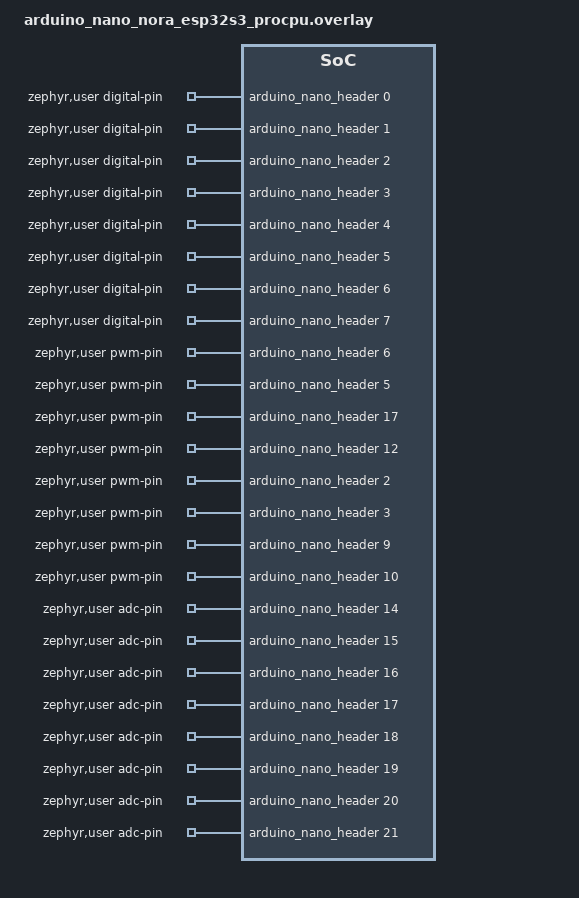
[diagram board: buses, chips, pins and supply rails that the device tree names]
/*
 * Copyright (c) 2024-2025 Espressif Systems (Shanghai) Co., Ltd.
 *
 * SPDX-License-Identifier: Apache-2.0
 */
#include <zephyr/dt-bindings/adc/adc.h>

&flash0 {
	partitions {
		compatible = "fixed-partitions";
		#address-cells = <1>;
		#size-cells = <1>;

		boot_partition: partition@0 {
			label = "mcuboot";
			reg = <0x0 DT_SIZE_K(36)>;
		};

		nvs: partition@9000 {
			label = "nvs";
			reg = <0x9000 DT_SIZE_K(20)>;
		};

		otadata: partition@e000 {
			label = "otadata";
			reg = <0xe000 DT_SIZE_K(8)>;
		};

		app0: partition@10000 {
			label = "app0";
			reg = <0x10000 DT_SIZE_K(3072)>;
		};

		user_sketch: partition@310000 {
			label = "user_sketch";
			reg = <0x310000 DT_SIZE_K(3072)>;
		};

		spiffs: partition@610000 {
			label = "spiffs";
			reg = <0x610000 DT_SIZE_K(10112)>;
		};

		coredump: partition@ff0000 {
			label = "coredump";
			reg = <0xFF0000 DT_SIZE_K(64)>;
		};
	};
};

/* Remaining flash size is 0kB
 * Last used address is 0xFFFFFF
 */

/ {
	zephyr,user {
		digital-pin-gpios = <&arduino_nano_header 0 0>,
				    <&arduino_nano_header 1 0>,
				    <&arduino_nano_header 2 0>,
				    <&arduino_nano_header 3 0>,
				    <&arduino_nano_header 4 0>,
				    <&arduino_nano_header 5 0>,
				    <&arduino_nano_header 6 0>,
				    <&arduino_nano_header 7 0>,
				    <&arduino_nano_header 8 0>,
				    <&arduino_nano_header 9 0>,
				    <&arduino_nano_header 10 0>,
				    <&arduino_nano_header 11 0>,
				    <&arduino_nano_header 12 0>,
				    <&arduino_nano_header 13 0>,
				    <&arduino_nano_header 14 0>, /* D14 / A0 */
				    <&arduino_nano_header 15 0>,
				    <&arduino_nano_header 16 0>,
				    <&arduino_nano_header 17 0>,
				    <&arduino_nano_header 18 0>, /* D18 / A4 / I2C-SDA */
				    <&arduino_nano_header 19 0>, /* D19 / A5 / I2C-SCL */
				    <&arduino_nano_header 20 0>,
				    <&arduino_nano_header 21 0>;

		pwm-pin-gpios =	    <&arduino_nano_header 6 0>, // TODO
				    <&arduino_nano_header 5 0>,
				    <&arduino_nano_header 17 0>,
				    <&arduino_nano_header 12 0>,
				    <&arduino_nano_header 2 0>,
				    <&arduino_nano_header 3 0>,
				    <&arduino_nano_header 9 0>,
				    <&arduino_nano_header 10 0>;

		adc-pin-gpios =     <&arduino_nano_header 14 0>, // TODO
				    <&arduino_nano_header 15 0>,
				    <&arduino_nano_header 16 0>,
				    <&arduino_nano_header 17 0>,
				    <&arduino_nano_header 18 0>,
				    <&arduino_nano_header 19 0>,
				    <&arduino_nano_header 20 0>,
				    <&arduino_nano_header 21 0>;

//		pwms =	<&tcc0 0 255>, // TODO
//			<&tcc0 1 255>,
//			<&tcc0 2 255>,
//			<&tcc0 3 255>,
//			<&tcc0 4 255>,
//			<&tcc0 5 255>,
//			<&tcc0 6 255>,
//			<&tcc0 7 255>;

//		io-channels =	<&adc 0>,
//				<&adc 10>,
//				<&adc 11>,
//				<&adc 4>,
//				<&adc 5>,
//				<&adc 6>,
//				<&adc 7>;

		//serials = <&sercom5>;
		//i2cs = <&arduino_nano_i2c>;
	};
};

// &adc {
// 	status = "okay";
// };
